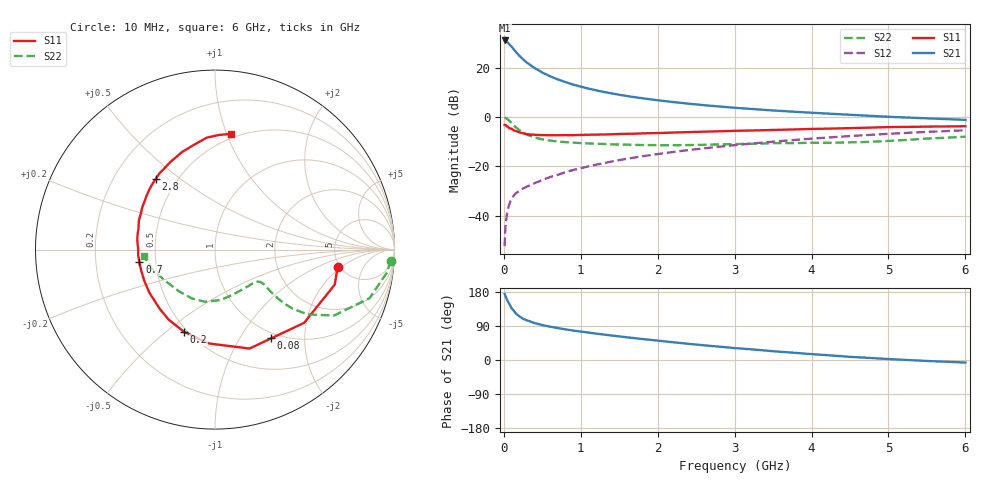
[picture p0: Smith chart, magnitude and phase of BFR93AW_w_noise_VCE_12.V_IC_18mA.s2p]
! Infineon Technologies  Discrete & RF Semiconductors
! BFR93AW
! VCE =  12. V,  IC =  18 mA
! Common Emitter S-Parameters:  Jan 2017
# GHz  S  MA  R  50
!  f  S11  S21  S12  S22
! GHz  MAG  ANG  MAG  ANG  MAG  ANG  MAG  ANG
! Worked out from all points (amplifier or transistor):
!   77 points, 10 MHz to 6 GHz, reference 50 ohm
!   highest |S21| = 31.1 dB at 10 MHz (marker M1)
!   |S21| within 3 dB of that: start of sweep to 113.4 MHz
!   unconditionally stable (mu >= 1): 712.7 MHz to 2.1 GHz
!   at 130 MHz: K = 0.41, MSG = 29.6 dB, |S12| = -31.8 dB
!   at 2.2 GHz: K = 0.99, MSG = 10.1 dB, |S12| = -14.2 dB
!   at 6 GHz: K = 0.85, MSG = 2.1 dB, |S12| = -5.4 dB
!   lowest NFmin = 1.47 dB at 450 MHz
!   S11 on the Smith chart (normalised r, x): 10 MHz: 4.77, -1.77; 80 MHz: 0.92, -1.38; 200 MHz: 0.48, -0.58; 700 MHz: 0.40, -0.07; 2.8 GHz: 0.38, +0.41; 6 GHz: 0.46, +1.04
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0.01  0.6903 -8.1  35.79 174.1  0.0024 84.1  0.98 -3.6
0.02  0.6951 -16.3  35.72 169.3  0.0056 86.2  0.9665 -7.6
0.05  0.6426 -39.4  32.79 155.1  0.0131 71.8  0.9023 -17.5
0.08  0.5853 -57.6  28.86 144.9  0.0185 65.6  0.8116 -23.9
0.1  0.5839 -70.8  26.87 136.6  0.0222 63.2  0.7579 -29.0
0.15  0.524 -93.7  21.56 124.0  0.0279 57.4  0.6322 -34.9
0.2  0.4894 -110.7  17.63 115.4  0.0315 55.9  0.5435 -37.3
0.25  0.4678 -123.5  14.81 108.9  0.0354 55.6  0.4827 -37.9
0.3  0.4514 -133.0  12.66 104.4  0.0388 56.6  0.4378 -37.8
0.4  0.4374 -147.0  9.84 97.3  0.0454 59.2  0.3842 -36.9
0.5  0.4304 -156.8  7.988 92.2  0.0526 61.8  0.3522 -36.0
0.6  0.4276 -164.6  6.739 87.9  0.0606 63.1  0.3329 -35.4
0.7  0.4269 -170.8  5.814 84.3  0.0672 65.0  0.3197 -35.3
0.9  0.4282 179.2  4.566 77.8  0.084 66.5  0.3025 -36.3
1.1  0.4376 171.6  3.782 72.4  0.0999 67.6  0.2918 -38.3
1.5  0.4535 159.4  2.83 62.3  0.1337 67.3  0.2769 -45.4
2.1  0.4785 144.4  2.1 49.0  0.1862 64.9  0.2679 -60.8
2.8  0.5142 130.0  1.636 35.1  0.25 60.2  0.2789 -81.5
3.1  0.5287 124.2  1.504 30.0  0.2783 57.6  0.2845 -89.8
4.1  0.5773 107.2  1.2 14.2  0.3737 48.3  0.3002 -117.8
5.1  0.6277 92.9  0.997 1.5  0.4652 37.5  0.3336 -151.4
6  0.6509 82.1  0.876 -6.8  0.5388 27.1  0.3995 -174.7
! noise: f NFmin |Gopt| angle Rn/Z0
0.45  1.47  0.13  155  0.14
0.9  1.74  0.23  172  0.15
1.9  2.74  0.47  -140  0.22
2.4  3.36  0.54  -127  0.43
